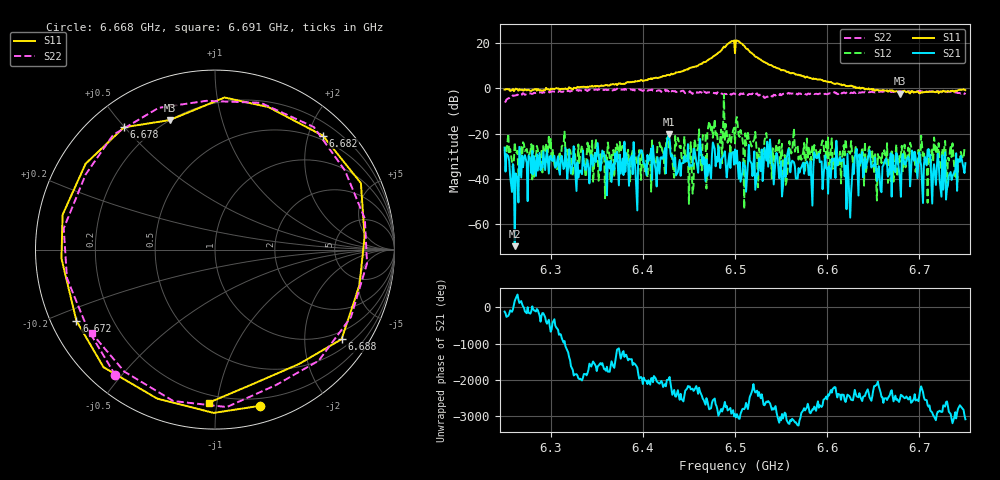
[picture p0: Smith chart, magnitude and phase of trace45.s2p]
# Hz S RI R 50
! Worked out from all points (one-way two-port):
!   401 points, 6.25 GHz to 6.75 GHz, reference 50 ohm
!   highest |S21| = -20.11 dB at 6.428 GHz (marker M1); lowest = -69.8 dB at 6.261 GHz (marker M2)
!   lowest |S11| = -2.3 dB at 6.679 GHz (marker M3), VSWR 7.49, Z = 9.94 + j34.5 ohm
!   |S11| at or under -10 dB: nowhere
!   |S22| runs from -6.1 to -0.1 dB; largest |S21 - S12| = 0.76
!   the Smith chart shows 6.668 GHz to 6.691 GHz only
!   S11 on the Smith chart (normalised r, x): 6.668 GHz: 0.14, -1.32; 6.672 GHz: 0.07, -0.24; 6.678 GHz: 0.10, +0.50; 6.682 GHz: 0.42, +2.26; 6.688 GHz: 0.75, -2.97; 6.691 GHz: 0.15, -0.95
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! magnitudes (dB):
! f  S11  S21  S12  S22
! 6.25 GHz  -0.5  -26.2  -27.6  -6.1
! 6.261 GHz  -0.6  -69.8  -23.8  -3.2
! 6.271 GHz  -0.9  -30.7  -24.6  -2.4
! 6.334 GHz  0.7  -37.9  -25.1  -1.0
! 6.418 GHz  4.9  -37.7  -23.9  -0.9
! 6.428 GHz  6.1  -20.1  -26.1  -1.3
! 6.452 GHz  9.3  -33.9  -23.8  -1.7
! 6.472 GHz  12.9  -33.7  -14.5  -1.7
! 6.5 GHz  15.7  -27.0  -24.3  -2.4
! 6.555 GHz  7.7  -39.2  -42.7  -2.6
! 6.561 GHz  6.7  -33.6  -28.8  -2.2
! 6.584 GHz  4.2  -51.9  -25.3  -2.1
! 6.624 GHz  1.1  -47.5  -28.2  -1.8
! 6.668 GHz  -0.9  -34.9  -30.1  -1.0
! 6.672 GHz  -1.2  -35.3  -41.3  -1.6
! 6.678 GHz  -1.4  -36.5  -29.5  -1.3
! 6.679 GHz  -2.3  -40.0  -32.5  -1.1
! 6.682 GHz  -1.2  -29.0  -36.6  -1.4
! 6.688 GHz  -1.3  -30.1  -26.2  -1.1
! 6.691 GHz  -1.4  -37.0  -25.5  -1.6
! 6.74 GHz  -1.0  -28.7  -37.4  -1.7
! 6.75 GHz  -0.8  -33.0  -27.1  -1.9
